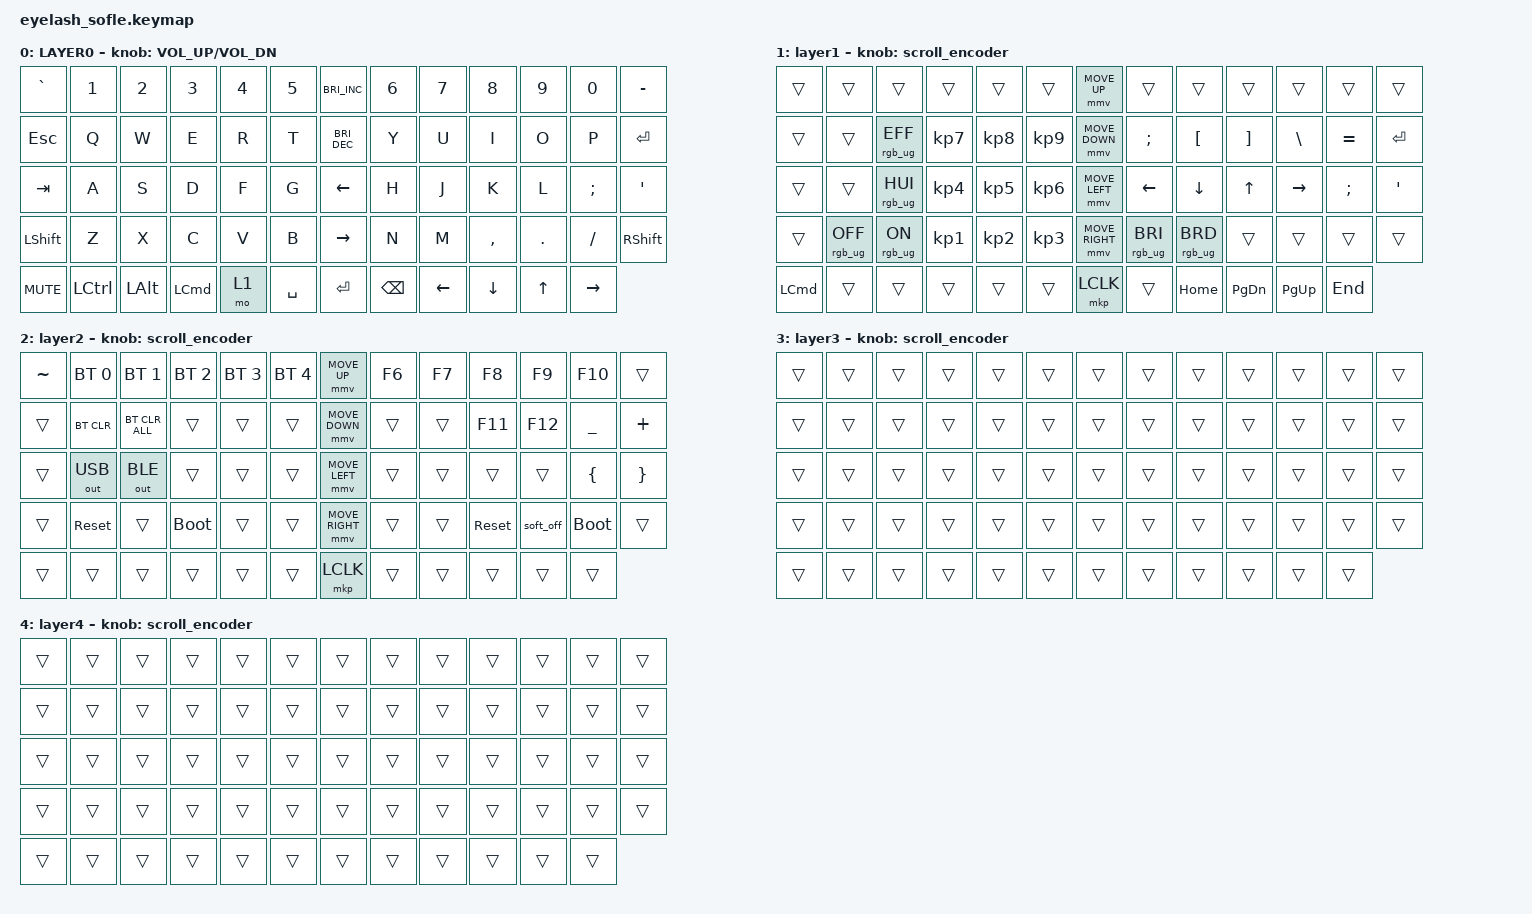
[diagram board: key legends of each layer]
#define ZMK_POINTING_DEFAULT_MOVE_VAL 1200  // 600
#define ZMK_POINTING_DEFAULT_SCRL_VAL 25   // 10

#include <input/processors.dtsi>
#include <zephyr/dt-bindings/input/input-event-codes.h>
#include <behaviors.dtsi>
#include <dt-bindings/zmk/bt.h>
#include <dt-bindings/zmk/keys.h>
#include <dt-bindings/zmk/outputs.h>
#include <dt-bindings/zmk/pointing.h>
#include <dt-bindings/zmk/rgb.h>

&mmv_input_listener { input-processors = <&zip_xy_scaler 2 1>; };

&msc_input_listener { input-processors = <&zip_scroll_scaler 2 1>; };

&msc {
    acceleration-exponent = <1>;      // 0
    time-to-max-speed-ms = <100>;       // 300
    delay-ms = <0>;                   // 0
};

&mmv {
    time-to-max-speed-ms = <500>;
    acceleration-exponent = <1>;
    trigger-period-ms = <16>;
};

&soft_off { hold-time-ms = <2000>; };

/ {
    scroll_encoder: scroll_encoder {
        compatible = "zmk,behavior-sensor-rotate";
        #sensor-binding-cells = <0>;
        bindings = <&msc SCRL_DOWN>, <&msc SCRL_UP>;

        tap-ms = <100>;
    };

    behaviors {
    };

    combos {
        compatible = "zmk,combos";

        softoff {
            bindings = <&soft_off>;
            key-positions = <14 28 40>;
        };
    };

    macros {
        SHIFT_MCLK: SHIFT_MCLK {
            compatible = "zmk,behavior-macro";
            #binding-cells = <0>;
            bindings =
                <&macro_press>,
                <&kp LEFT_SHIFT>,
                <&macro_press>,
                <&mkp MB3>,
                <&macro_pause_for_release>,
                <&macro_release>,
                <&kp LEFT_SHIFT &mkp MB3>;

            label = "SHIFT_MCLK";
        };
    };

    keymap {
        compatible = "zmk,keymap";

        layer0 {
            bindings = <
&kp GRAVE   &kp N1     &kp N2        &kp N3            &kp N4  &kp N5       &kp C_BRIGHTNESS_INC  &kp N6         &kp N7          &kp N8          &kp N9        &kp N0           &kp MINUS
&kp ESC     &kp Q      &kp W         &kp E             &kp R   &kp T        &kp C_BRI_DEC         &kp Y          &kp U           &kp I           &kp O         &kp P            &kp ENTER
&kp TAB     &kp A      &kp S         &kp D             &kp F   &kp G        &kp LEFT_ARROW        &kp H          &kp J           &kp K           &kp L         &kp SEMI         &kp APOS
&kp LSHFT   &kp Z      &kp X         &kp C             &kp V   &kp B        &kp RIGHT_ARROW       &kp N          &kp M           &kp COMMA       &kp DOT       &kp FSLH         &kp RSHFT
&kp C_MUTE  &kp LCTRL  &kp LEFT_ALT  &kp LEFT_COMMAND  &mo 1   &kp SPACE    &kp ENTER             &kp BACKSPACE  &kp LEFT_ARROW  &kp DOWN_ARROW  &kp UP_ARROW  &kp RIGHT_ARROW
            >;

            sensor-bindings = <&inc_dec_kp C_VOLUME_UP C_VOL_DN>;
            display-name = "LAYER0";
        };

        layer_1 {
            bindings = <
&trans            &trans           &trans           &trans           &trans           &trans             &mmv MOVE_UP     &trans           &trans            &trans             &trans     &trans     &trans
&trans            &trans           &rgb_ug RGB_EFF  &kp KP_NUMBER_7  &kp KP_NUMBER_8  &kp KP_NUMBER_9    &mmv MOVE_DOWN   &kp SEMI         &kp LEFT_BRACKET  &kp RIGHT_BRACKET  &kp BSLH   &kp EQUAL  &kp ENTER
&trans            &trans           &rgb_ug RGB_HUI  &kp KP_NUMBER_4  &kp KP_NUMBER_5  &kp KP_NUMBER_6    &mmv MOVE_LEFT   &kp LEFT_ARROW   &kp DOWN          &kp UP             &kp RIGHT  &kp SEMI   &kp APOS
&trans            &rgb_ug RGB_OFF  &rgb_ug RGB_ON   &kp KP_NUMBER_1  &kp KP_NUMBER_2  &kp KP_NUMBER_3    &mmv MOVE_RIGHT  &rgb_ug RGB_BRI  &rgb_ug RGB_BRD   &trans             &trans     &trans     &trans
&kp LEFT_COMMAND  &trans           &trans           &trans           &trans           &trans             &mkp LCLK        &trans           &kp HOME          &kp PG_DN          &kp PG_UP  &kp END
            >;

            display-name = "layer1";
            sensor-bindings = <&scroll_encoder>;
        };

        layer_2 {
            bindings = <
&kp TILDE  &bt BT_SEL 0  &bt BT_SEL 1    &bt BT_SEL 2  &bt BT_SEL 3  &bt BT_SEL 4    &mmv MOVE_UP     &kp F6  &kp F7  &kp F8      &kp F9     &kp F10      &trans
&trans     &bt BT_CLR    &bt BT_CLR_ALL  &trans        &trans        &trans          &mmv MOVE_DOWN   &trans  &trans  &kp F11     &kp F12    &kp UNDER    &kp PLUS
&trans     &out OUT_USB  &out OUT_BLE    &trans        &trans        &trans          &mmv MOVE_LEFT   &trans  &trans  &trans      &trans     &kp LBRC     &kp RBRC
&trans     &sys_reset    &trans          &bootloader   &trans        &trans          &mmv MOVE_RIGHT  &trans  &trans  &sys_reset  &soft_off  &bootloader  &trans
&trans     &trans        &trans          &trans        &trans        &trans          &mkp LCLK        &trans  &trans  &trans      &trans     &trans
            >;

            display-name = "layer2";
            sensor-bindings = <&scroll_encoder>;
        };

        layer_3 {
            bindings = <
&trans  &trans  &trans  &trans  &trans  &trans    &trans  &trans  &trans  &trans  &trans  &trans  &trans
&trans  &trans  &trans  &trans  &trans  &trans    &trans  &trans  &trans  &trans  &trans  &trans  &trans
&trans  &trans  &trans  &trans  &trans  &trans    &trans  &trans  &trans  &trans  &trans  &trans  &trans
&trans  &trans  &trans  &trans  &trans  &trans    &trans  &trans  &trans  &trans  &trans  &trans  &trans
&trans  &trans  &trans  &trans  &trans  &trans    &trans  &trans  &trans  &trans  &trans  &trans
            >;

            display-name = "layer3";
            sensor-bindings = <&scroll_encoder>;
        };

        layer_4 {
            bindings = <
&trans  &trans  &trans  &trans  &trans  &trans    &trans  &trans  &trans  &trans  &trans  &trans  &trans
&trans  &trans  &trans  &trans  &trans  &trans    &trans  &trans  &trans  &trans  &trans  &trans  &trans
&trans  &trans  &trans  &trans  &trans  &trans    &trans  &trans  &trans  &trans  &trans  &trans  &trans
&trans  &trans  &trans  &trans  &trans  &trans    &trans  &trans  &trans  &trans  &trans  &trans  &trans
&trans  &trans  &trans  &trans  &trans  &trans    &trans  &trans  &trans  &trans  &trans  &trans
            >;

            display-name = "layer4";
            sensor-bindings = <&scroll_encoder>;
        };
    };
};
